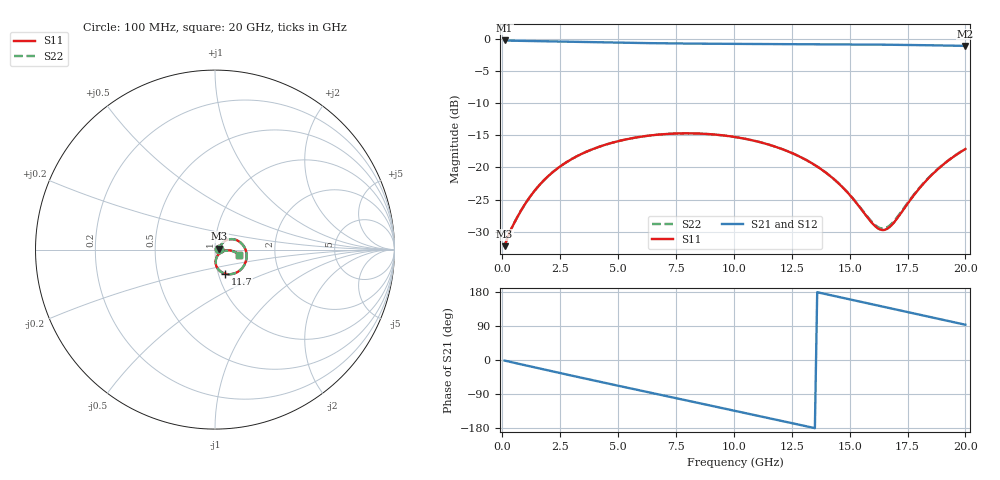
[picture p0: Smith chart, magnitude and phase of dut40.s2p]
! Touchstone file exported from HFSS 2026.1.0
!  File:  C:/ffzhzh/LocalFiles/Ansys_Project_Files/temp_train_TSV_RDL_40_1782965553_45568.aedt
!  Generated:  12:28:10 PM Jul  2, 2026
!  Design:  TSV_RDL
!  Project:  temp_train_TSV_RDL_40_1782965553_45568
! Variables:
!  h_bsmrdl = 2.52um
!  h_ox = 20um
!  h_rdl = 5um
!  h_sub = 99.58um
!  h_tmrdl = 5.59um
!  h_tsv = 99.58um
!  h_via = 3um
!  l_bsmrdl = 179.51um
!  l_sub = 4196.2um
!  l_tmrdl = 784.44um
!  m_sub = 200um
!  pitch = 30.01um
!  r_tsv = 2.82um
!  s_tmrdl = 10um
!  w_bsmrdl = 15.06um
!  w_sub = 500um
!  w_tmrdl = 24.91um
!  x_tsv_center1 = 796.895um
!  x_tsv_center2 = 991.465um
!  x_tsv_center3 = 1800.815um
!  x_tsv_center4 = 1995.385um
!  x_tsv_center5 = 2804.735um
!  x_tsv_center6 = 2999.305um
# GHz S MA R 50.000000
! Terminal data exported
! Port[1] = TM_RDL1_1_T1
! Port[2] = TM_RDL5_1_T1
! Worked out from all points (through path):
!   200 points, 100 MHz to 20 GHz, reference 50 ohm
!   highest |S21| = -0.21 dB at 100 MHz (marker M1); lowest = -1.1 dB at 20 GHz (marker M2)
!   group delay of S21, straight-line fit = 36.9 ps
!   lowest |S11| = -32.3 dB at 100 MHz (marker M3), VSWR 1.05, Z = 52.4 + j0.627 ohm
!   |S11| at or under -10 dB: start of sweep to end of sweep
!   |S22| runs from -32.3 to -14.7 dB; largest |S21 - S12| = 2.3e-14
!   S11 on the Smith chart (normalised r, x): 100 MHz: 1.05, +0.01; 11.7 GHz: 1.08, -0.30; 20 GHz: 1.31, -0.08
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0.1  0.02437 14.2  0.9765 -1.5  0.9765 -1.5  0.02437 14.2
! Gamma 0 0 0 0
! Port Impedance 50 0 50 0
0.3  0.03068 26.4  0.9735 -4.4  0.9735 -4.4  0.03068 26.4
0.7  0.04267 37.5  0.9705 -9.9  0.9705 -9.9  0.04267 37.4
1.5  0.06947 41.5  0.9654 -20.9  0.9654 -20.9  0.06947 41.5
2.4  0.09885 35.6  0.9585 -33.2  0.9585 -33.2  0.09886 35.6
3.5  0.1294 24.4  0.9495 -48.0  0.9495 -48.0  0.1295 24.4
4.4  0.1494 14.4  0.9427 -59.9  0.9427 -59.9  0.1494 14.4
5.2  0.1634 5.4  0.9372 -70.5  0.9372 -70.5  0.1634 5.3
6  0.1738 -3.8  0.9325 -81.0  0.9325 -81.0  0.1738 -3.8
6.8  0.1807 -12.9  0.9285 -91.5  0.9285 -91.5  0.1808 -12.9
8.4  0.184 -31.0  0.9223 -112.5  0.9223 -112.5  0.184 -31.0
10.1  0.1721 -49.8  0.9182 -134.8  0.9182 -134.8  0.1722 -49.8
11.7  0.147 -66.6  0.9156 -155.9  0.9156 -155.9  0.147 -66.5
12.6  0.1274 -75.2  0.9144 -167.8  0.9144 -167.8  0.1274 -75.1
13.4  0.1071 -81.8  0.9132 -178.5  0.9132 -178.5  0.1072 -81.6
14.7  0.06999 -87.3  0.9107 164.2  0.9107 164.2  0.0702 -86.9
16.1  0.03488 -63.1  0.9067 145.4  0.9067 145.4  0.03563 -62.5
16.4  0.03255 -48.0  0.9057 141.4  0.9057 141.4  0.03344 -47.8
16.7  0.034 -32.2  0.9045 137.3  0.9045 137.3  0.03494 -32.5
18.4  0.08226 -3.0  0.8962 114.5  0.8962 114.5  0.08286 -3.8
19.2  0.111 -6.4  0.8913 103.8  0.8913 103.8  0.1115 -7.1
20  0.1393 -12.5  0.8859 93.0  0.8859 93.0  0.1398 -13.1
